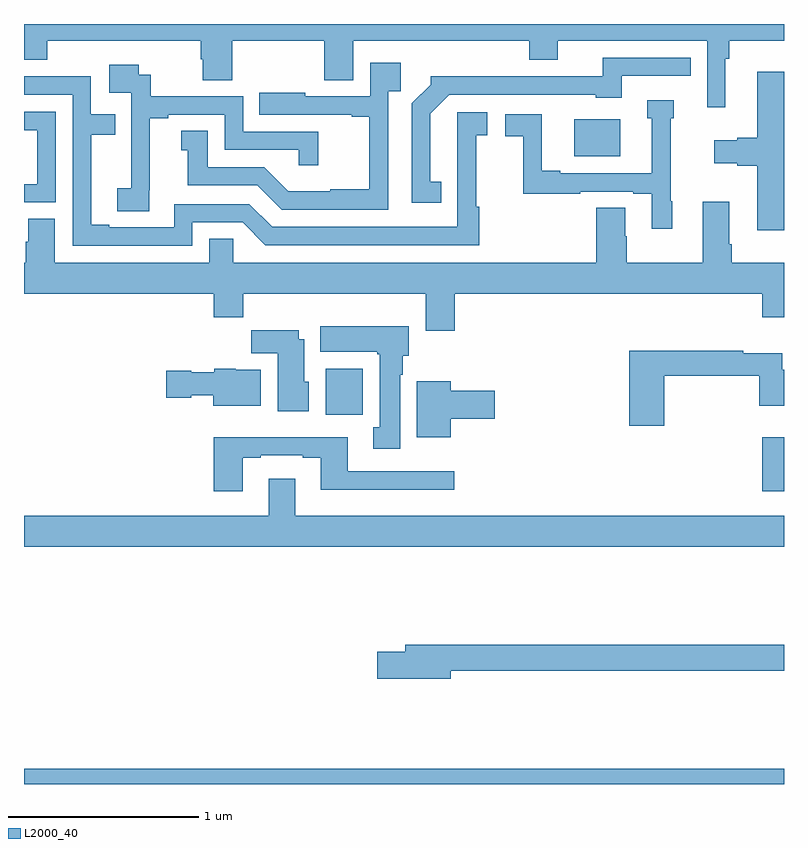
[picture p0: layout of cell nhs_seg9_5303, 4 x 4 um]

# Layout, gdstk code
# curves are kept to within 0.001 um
import gdstk
lib = gdstk.Library(unit=1e-6, precision=1e-09)
def R(c, l, rs):  # rectangles x0, y0, x1, y1
    for r in rs: c.add(gdstk.rectangle(r[:2], r[2:], *l))
def P(c, l, *ps):  # polygons
    for p in ps: c.add(gdstk.Polygon(p, *l))
L2000_40 = (2000, 40)

nhs_seg9_5303 = lib.new_cell('nhs_seg9_5303')
R(nhs_seg9_5303, L2000_40, [(419,1200.5,423,1200.58), (422.885,1202.04,423,1202.326), (420.587,1202.444,420.784,1202.686), (421.895,1203.803,422.137,1204)])
P(nhs_seg9_5303, L2000_40, [(422.692,1204.316),(422.711,1204.316),(422.711,1204.412),(423,1204.412),(423,1204.5),(419,1204.5),(419,1204.313),(419.123,1204.313),(419.123,1204.412),(419.93,1204.412),(419.93,1204.314),(419.942,1204.314),(419.942,1204.204),(420.095,1204.204),(420.095,1204.412),(420.581,1204.412),(420.581,1204.204),(420.733,1204.204),(420.733,1204.412),(421.658,1204.412),(421.658,1204.313),(421.81,1204.313),(421.81,1204.412),(422.595,1204.412),(422.595,1204.062),(422.692,1204.062)],
  [(421.196,1203.671),(421.138,1203.671),(421.138,1204.027),(421.239,1204.128),(422.01,1204.128),(422.01,1204.112),(422.146,1204.112),(422.146,1204.227),(422.51,1204.227),(422.51,1204.323),(422.047,1204.323),(422.047,1204.224),(421.574,1204.224),(421.574,1204.226),(421.14,1204.226),(421.14,1204.181),(421.041,1204.082),(421.041,1203.558),(421.196,1203.558)],
  [(420.918,1204.145),(420.983,1204.145),(420.983,1204.297),(420.822,1204.297),(420.822,1204.119),(420.481,1204.119),(420.481,1204.138),(420.238,1204.138),(420.238,1204.023),(420.725,1204.023),(420.725,1204.011),(420.817,1204.011),(420.817,1203.631),(420.611,1203.631),(420.611,1203.619),(420.392,1203.619),(420.264,1203.747),(419.968,1203.747),(419.968,1203.938),(419.828,1203.938),(419.828,1203.835),(419.861,1203.835),(419.861,1203.651),(420.228,1203.651),(420.357,1203.522),(420.918,1203.522)],
  [(419.66,1203.625),(419.662,1203.625),(419.662,1204.003),(419.758,1204.003),(419.758,1204.023),(420.057,1204.023),(420.057,1203.837),(420.447,1203.837),(420.447,1203.756),(420.548,1203.756),(420.548,1203.933),(420.153,1203.933),(420.153,1204.119),(419.666,1204.119),(419.666,1204.233),(419.604,1204.233),(419.604,1204.285),(419.448,1204.285),(419.448,1204.137),(419.565,1204.137),(419.565,1203.833),(419.564,1203.833),(419.564,1203.636),(419.49,1203.636),(419.49,1203.514),(419.66,1203.514)],
  [(423,1204.249),(422.858,1204.249),(422.858,1203.902),(422.754,1203.902),(422.754,1203.889),(422.634,1203.889),(422.634,1203.767),(422.754,1203.767),(422.754,1203.755),(422.858,1203.755),(422.858,1203.414),(423,1203.414)],
  [(419.886,1203.456),(420.15,1203.456),(420.27,1203.336),(421.397,1203.336),(421.397,1203.539),(421.38,1203.539),(421.38,1203.915),(421.438,1203.915),(421.438,1204.036),(421.28,1204.036),(421.281,1203.432),(420.306,1203.432),(420.186,1203.552),(419.79,1203.552),(419.79,1203.429),(419.449,1203.429),(419.449,1203.444),(419.353,1203.444),(419.353,1203.918),(419.48,1203.918),(419.48,1204.026),(419.352,1204.026),(419.352,1204.224),(419,1204.224),(419,1204.128),(419.256,1204.128),(419.256,1203.333),(419.886,1203.333)],
  [(422.413,1203.567),(422.403,1203.567),(422.403,1204.005),(422.419,1204.005),(422.419,1204.099),(422.279,1204.099),(422.279,1204.005),(422.303,1204.005),(422.303,1203.714),(421.822,1203.714),(421.822,1203.727),(421.726,1203.727),(421.726,1204.026),(421.533,1204.026),(421.533,1203.91),(421.627,1203.91),(421.627,1203.606),(421.928,1203.606),(421.928,1203.618),(422.207,1203.618),(422.207,1203.606),(422.303,1203.606),(422.303,1203.423),(422.413,1203.423)],
  [(419.166,1204.038),(419,1204.038),(419,1203.942),(419.07,1203.942),(419.07,1203.657),(419,1203.657),(419,1203.561),(419.166,1203.561)],
  [(421.268,1203.08),(422.885,1203.08),(422.885,1202.956),(423,1202.956),(423,1203.244),(422.726,1203.244),(422.726,1203.34),(422.713,1203.34),(422.713,1203.565),(422.573,1203.565),(422.573,1203.244),(422.172,1203.244),(422.172,1203.383),(422.164,1203.383),(422.164,1203.533),(422.012,1203.533),(422.012,1203.244),(420.102,1203.244),(420.102,1203.371),(419.975,1203.371),(419.975,1203.244),(419.161,1203.244),(419.161,1203.476),(419.022,1203.476),(419.022,1203.353),(419.009,1203.353),(419.009,1203.244),(419,1203.244),(419,1203.08),(419.999,1203.08),(419.999,1202.956),(420.155,1202.956),(420.155,1203.08),(421.115,1203.08),(421.115,1202.886),(421.268,1202.886)],
  [(420.979,1202.654),(420.994,1202.654),(420.994,1202.754),(421.024,1202.754),(421.024,1202.908),(420.56,1202.908),(420.56,1202.774),(420.859,1202.774),(420.859,1202.761),(420.872,1202.761),(420.872,1202.378),(420.839,1202.378),(420.839,1202.265),(420.979,1202.265)],
  [(420.499,1202.616),(420.475,1202.616),(420.475,1202.842),(420.445,1202.842),(420.445,1202.887),(420.196,1202.887),(420.196,1202.768),(420.335,1202.768),(420.335,1202.462),(420.499,1202.462)],
  [(422.369,1202.65),(422.87,1202.65),(422.87,1202.492),(423,1202.492),(423,1202.68),(422.992,1202.68),(422.992,1202.768),(422.786,1202.768),(422.786,1202.779),(422.186,1202.779),(422.186,1202.385),(422.369,1202.385)],
  [(420.247,1202.68),(420.114,1202.68),(420.114,1202.686),(420,1202.686),(420,1202.668),(419.88,1202.668),(419.88,1202.676),(419.748,1202.676),(419.748,1202.534),(419.88,1202.534),(419.88,1202.546),(419.996,1202.546),(419.996,1202.492),(420.247,1202.492)],
  [(421.246,1202.423),(421.477,1202.423),(421.477,1202.57),(421.246,1202.57),(421.246,1202.62),(421.067,1202.62),(421.067,1202.324),(421.246,1202.324)],
  [(420.151,1202.217),(420.247,1202.217),(420.247,1202.229),(420.467,1202.229),(420.467,1202.217),(420.563,1202.217),(420.563,1202.048),(421.264,1202.048),(421.264,1202.145),(420.703,1202.145),(420.703,1202.326),(419.999,1202.326),(419.999,1202.04),(420.151,1202.04)],
  [(423,1201.912),(420.427,1201.912),(420.427,1202.107),(420.287,1202.107),(420.287,1201.912),(419,1201.912),(419,1201.748),(423,1201.748)],
  [(421.246,1201.096),(423,1201.096),(423,1201.232),(421.007,1201.232),(421.007,1201.196),(420.858,1201.196),(420.858,1201.054),(421.246,1201.054)])

lib.write_gds('nhs_seg9_5303.gds')
